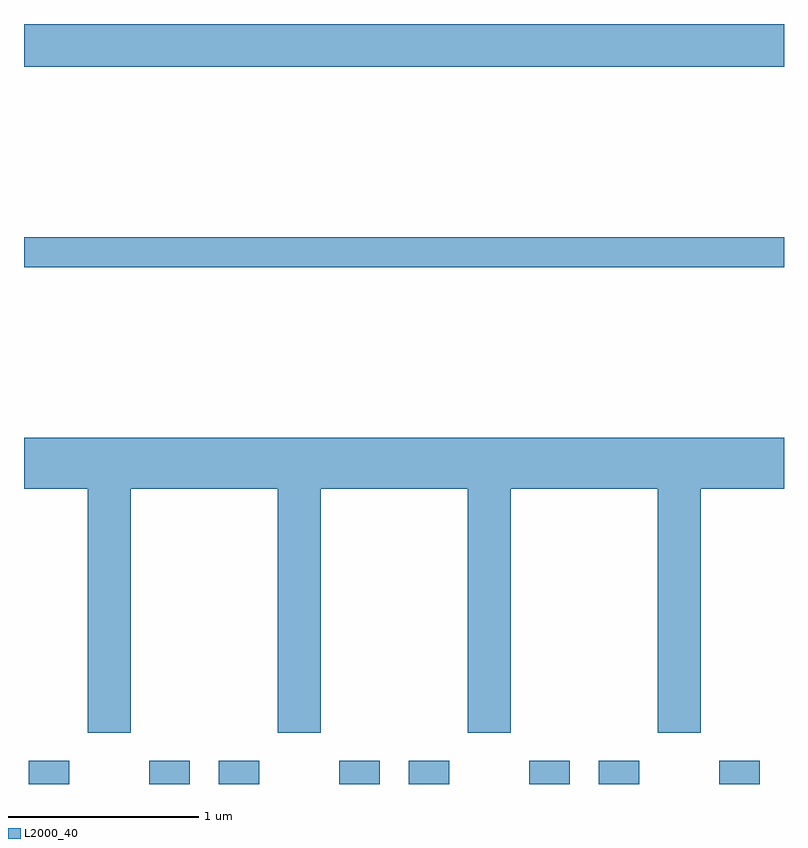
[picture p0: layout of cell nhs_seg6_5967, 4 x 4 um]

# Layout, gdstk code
import gdstk
lib = gdstk.Library(unit=1e-6, precision=1e-09)
def R(c, l, rs):  # rectangles x0, y0, x1, y1
    for r in rs: c.add(gdstk.rectangle(r[:2], r[2:], *l))
def P(c, l, *ps):  # polygons
    for p in ps: c.add(gdstk.Polygon(p, *l))
L2000_40 = (2000, 40)

nhs_seg6_5967 = lib.new_cell('nhs_seg6_5967')
R(nhs_seg6_5967, L2000_40, [(365.636,1646.162,365.849,1646.284), (366.271,1646.162,366.484,1646.284), (366.636,1646.162,366.849,1646.284), (367.271,1646.162,367.484,1646.284), (367.636,1646.162,367.849,1646.284), (368.271,1646.162,368.484,1646.284), (368.636,1646.162,368.849,1646.284), (369.271,1646.162,369.484,1646.284), (365.611,1648.881,369.611,1649.039), (365.611,1649.936,369.611,1650.162)])
P(nhs_seg6_5967, L2000_40, [(366.174,1647.716),(366.946,1647.716),(366.946,1646.431),(367.174,1646.431),(367.174,1647.716),(367.946,1647.716),(367.946,1646.431),(368.174,1646.431),(368.174,1647.716),(368.946,1647.716),(368.946,1646.431),(369.174,1646.431),(369.174,1647.716),(369.611,1647.716),(369.611,1647.984),(365.611,1647.984),(365.611,1647.716),(365.946,1647.716),(365.946,1646.431),(366.174,1646.431)])

lib.write_gds('nhs_seg6_5967.gds')
